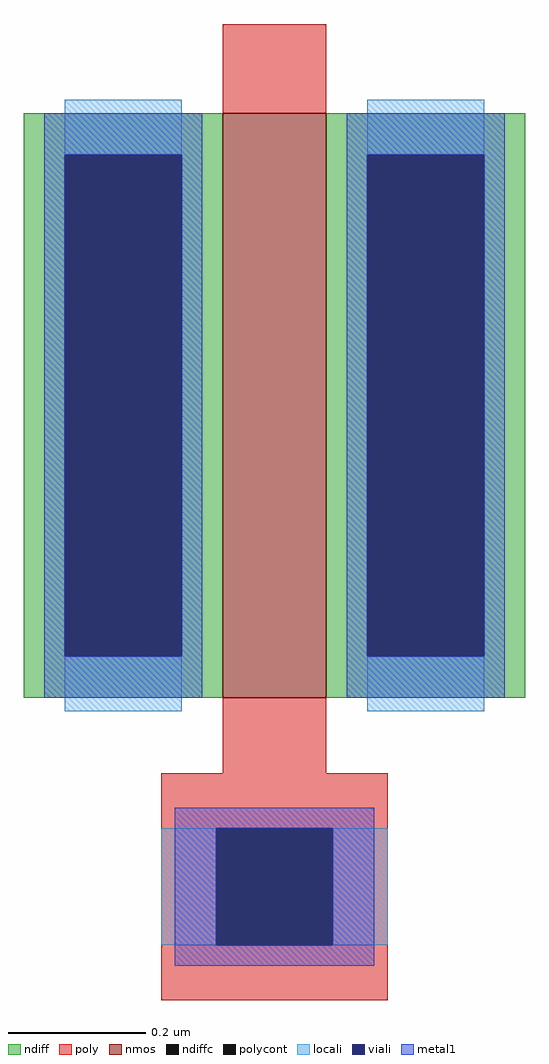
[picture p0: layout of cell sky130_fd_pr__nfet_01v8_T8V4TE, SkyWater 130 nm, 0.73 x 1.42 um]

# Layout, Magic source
magic
tech sky130A
magscale 1 2
<< nmos >>
rect -15 -54 15 116
<< ndiff >>
rect -73 104 -15 116
rect -73 -42 -61 104
rect -27 -42 -15 104
rect -73 -54 -15 -42
rect 15 104 73 116
rect 15 -42 27 104
rect 61 -42 73 104
rect 15 -54 73 -42
<< ndiffc >>
rect -61 -42 -27 104
rect 27 -42 61 104
<< poly >>
rect -15 116 15 142
rect -15 -76 15 -54
rect -33 -92 33 -76
rect -33 -126 -17 -92
rect 17 -126 33 -92
rect -33 -142 33 -126
<< polycont >>
rect -17 -126 17 -92
<< locali >>
rect -61 104 -27 120
rect -61 -58 -27 -42
rect 27 104 61 120
rect 27 -58 61 -42
rect -33 -126 -17 -92
rect 17 -126 33 -92
<< viali >>
rect -61 -42 -27 104
rect 27 -42 61 104
rect -17 -126 17 -92
<< metal1 >>
rect -67 104 -21 116
rect -67 -42 -61 104
rect -27 -42 -21 104
rect -67 -54 -21 -42
rect 21 104 67 116
rect 21 -42 27 104
rect 61 -42 67 104
rect 21 -54 67 -42
rect -29 -92 29 -86
rect -29 -126 -17 -92
rect 17 -126 29 -92
rect -29 -132 29 -126
<< properties >>
string gencell sky130_fd_pr__nfet_01v8
string library sky130
string parameters w 0.85 l 0.15 m 1 nf 1 diffcov 100 polycov 100 guard 0 glc 1 grc 1 gtc 1 gbc 1 tbcov 100 rlcov 100 topc 0 botc 1 poverlap 0 doverlap 1 lmin 0.15 wmin 0.42 class mosfet compatible {sky130_fd_pr__nfet_01v8 sky130_fd_pr__nfet_01v8_lvt  sky130_fd_bs_flash__special_sonosfet_star  sky130_fd_pr__nfet_g5v0d10v5 sky130_fd_pr__nfet_05v0_nvt  sky130_fd_pr__nfet_03v3_nvt} full_metal 1 viasrc 100 viadrn 100 viagate 100 viagb 0 viagr 0 viagl 0 viagt 0
<< end >>
